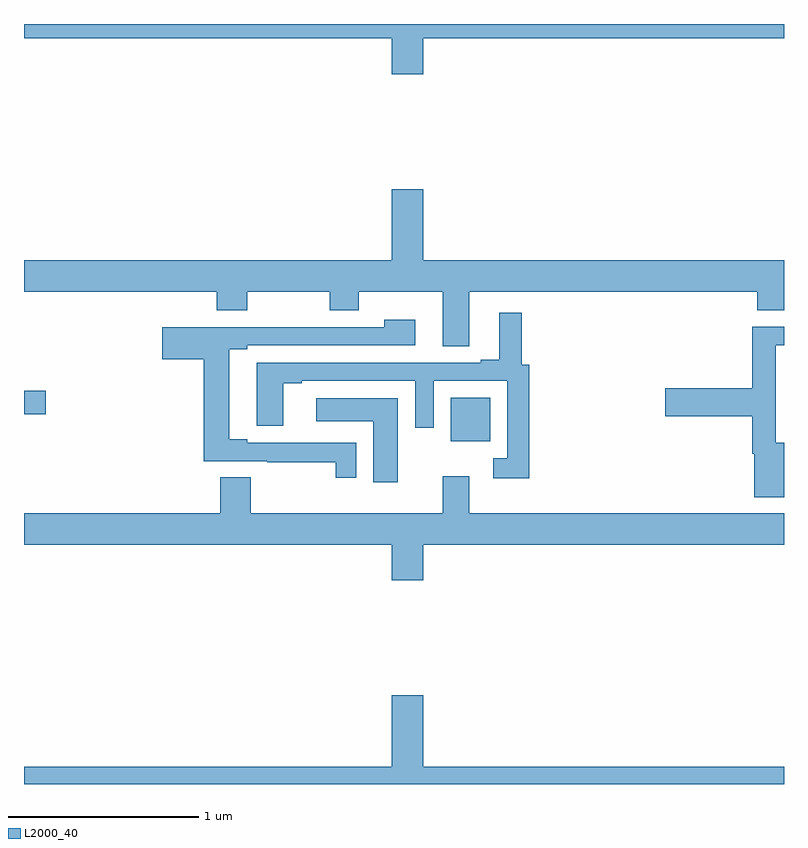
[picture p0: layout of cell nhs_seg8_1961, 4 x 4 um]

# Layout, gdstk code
import gdstk
lib = gdstk.Library(unit=1e-6, precision=1e-09)
def R(c, l, rs):  # rectangles x0, y0, x1, y1
    for r in rs: c.add(gdstk.rectangle(r[:2], r[2:], *l))
def P(c, l, *ps):  # polygons
    for p in ps: c.add(gdstk.Polygon(p, *l))
L2000_40 = (2000, 40)

nhs_seg8_1961 = lib.new_cell('nhs_seg8_1961')
R(nhs_seg8_1961, L2000_40, [(237.245,1123.703,237.454,1123.933), (235,1123.847,235.114,1123.969)])
P(nhs_seg8_1961, L2000_40, [(237.1,1125.824),(239,1125.824),(239,1125.9),(235,1125.9),(235,1125.824),(236.936,1125.824),(236.936,1125.636),(237.1,1125.636)],
  [(237.343,1124.492),(238.859,1124.492),(238.859,1124.393),(239,1124.393),(239,1124.656),(237.1,1124.656),(237.1,1125.031),(236.936,1125.031),(236.936,1124.656),(235,1124.656),(235,1124.492),(236.015,1124.492),(236.015,1124.393),(236.175,1124.393),(236.175,1124.492),(236.608,1124.492),(236.608,1124.393),(236.763,1124.393),(236.763,1124.492),(237.203,1124.492),(237.203,1124.203),(237.343,1124.203)],
  [(237.659,1124.106),(237.619,1124.106),(237.619,1124.38),(237.5,1124.38),(237.5,1124.133),(237.404,1124.133),(237.404,1124.118),(236.225,1124.118),(236.225,1123.785),(236.365,1123.785),(236.365,1124.01),(236.461,1124.01),(236.461,1124.022),(237.06,1124.022),(237.06,1123.776),(237.156,1123.776),(237.156,1124.022),(237.543,1124.022),(237.543,1123.614),(237.471,1123.614),(237.471,1123.509),(237.659,1123.509)],
  [(236.748,1123.695),(236.176,1123.695),(236.176,1123.715),(236.08,1123.715),(236.08,1124.188),(236.176,1124.188),(236.176,1124.208),(237.058,1124.208),(237.058,1124.344),(236.897,1124.344),(236.897,1124.304),(235.962,1124.304),(235.962,1124.305),(235.728,1124.305),(235.728,1124.135),(235.946,1124.135),(235.946,1123.599),(236.281,1123.599),(236.281,1123.594),(236.64,1123.594),(236.64,1123.512),(236.748,1123.512)],
  [(239,1123.696),(238.957,1123.696),(238.957,1124.208),(239,1124.208),(239,1124.306),(238.832,1124.306),(238.832,1123.982),(238.374,1123.982),(238.374,1123.835),(238.832,1123.835),(238.832,1123.637),(238.844,1123.637),(238.844,1123.41),(239,1123.41)],
  [(236.968,1123.93),(236.538,1123.93),(236.538,1123.808),(236.837,1123.808),(236.837,1123.488),(236.968,1123.488)],
  [(237.1,1123.16),(239,1123.16),(239,1123.324),(237.343,1123.324),(237.343,1123.519),(237.203,1123.519),(237.203,1123.324),(236.193,1123.324),(236.193,1123.514),(236.033,1123.514),(236.033,1123.324),(235,1123.324),(235,1123.16),(236.936,1123.16),(236.936,1122.972),(237.1,1122.972)],
  [(239,1121.992),(237.1,1121.992),(237.1,1122.367),(236.936,1122.367),(236.936,1121.992),(235,1121.992),(235,1121.9),(239,1121.9)])

lib.write_gds('nhs_seg8_1961.gds')
